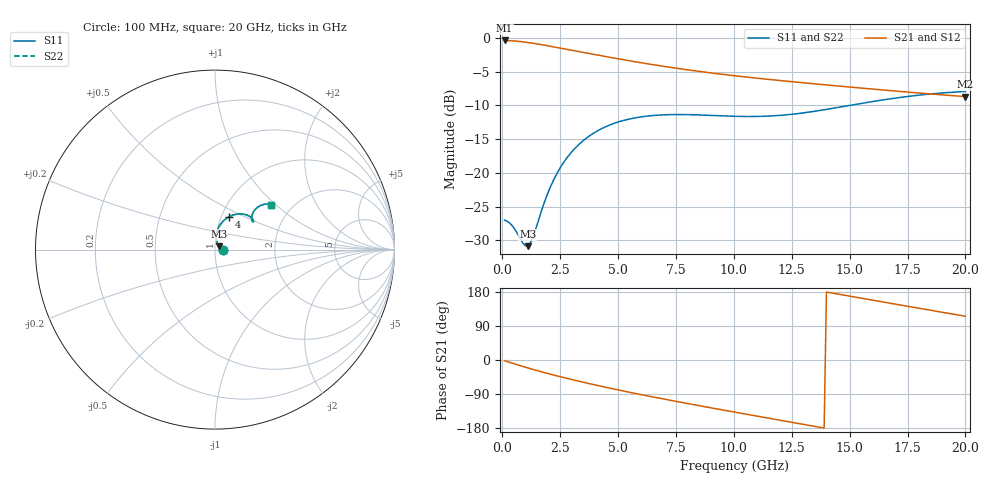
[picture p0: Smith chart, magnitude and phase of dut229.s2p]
! Created with skrf 1.9.0 (http://scikit-rf.org).
# GHz S RI R 50.0
!freq ReS11 ImS11 ReS21 ImS21 ReS12 ImS12 ReS22 ImS22
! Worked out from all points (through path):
!   200 points, 100 MHz to 20 GHz, reference 50 ohm
!   highest |S21| = -0.40 dB at 100 MHz (marker M1); lowest = -8.7 dB at 20 GHz (marker M2)
!   group delay of S21, straight-line fit = 32.4 ps
!   lowest |S11| = -30.8 dB at 1.1 GHz (marker M3), VSWR 1.06, Z = 52.2 + j1.97 ohm
!   |S11| at or under -10 dB: start of sweep to 15.03 GHz
!   |S22| runs from -30.8 to -8.0 dB; largest |S21 - S12| = 2.5e-15
!   S11 on the Smith chart (normalised r, x): 100 MHz: 1.09, -0.00; 4 GHz: 1.09, +0.42; 20 GHz: 1.57, +0.94
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0.1  0.0447 -7.88e-05  0.9542 -0.0323  0.9542 -0.0323  0.0447 -7.88e-05
0.4  0.0411 0.00176  0.9412 -0.1289  0.9412 -0.1289  0.0411 0.00176
0.9  0.0278 0.0114  0.8902 -0.2762  0.8902 -0.2762  0.0278 0.0114
1.1  0.0216 0.0189  0.8617 -0.3287  0.8617 -0.3287  0.0216 0.0189
1.2  0.0187 0.0234  0.8462 -0.3534  0.8462 -0.3534  0.0187 0.0234
1.3  0.0159 0.0284  0.8299 -0.3771  0.8299 -0.3771  0.0159 0.0284
1.9  0.0068 0.0659  0.7209 -0.4972  0.7209 -0.4972  0.0068 0.0659
2.3  0.00942 0.0942  0.6423 -0.5581  0.6423 -0.5581  0.00942 0.0942
2.8  0.0222 0.1278  0.542 -0.6153  0.542 -0.6153  0.0222 0.1278
3.5  0.0527 0.1653  0.4036 -0.6657  0.4036 -0.6657  0.0527 0.1653
4  0.079 0.1832  0.3087 -0.684  0.3087 -0.684  0.079 0.1832
4.6  0.111 0.1953  0.2013 -0.6899  0.2013 -0.6899  0.111 0.1953
5.2  0.1405 0.1987  0.1022 -0.6814  0.1022 -0.6814  0.1405 0.1987
6.8  0.195 0.1838  -0.1182 -0.6093  -0.1182 -0.6093  0.195 0.1838
8.4  0.214 0.1625  -0.2779 -0.4938  -0.2779 -0.4938  0.214 0.1625
10.1  0.2112 0.1552  -0.3893 -0.3475  -0.3893 -0.3475  0.2112 0.1552
11.7  0.2044 0.1676  -0.4448 -0.2005  -0.4448 -0.2005  0.2044 0.1676
13.4  0.2069 0.1947  -0.4549 -0.0461  -0.4549 -0.0461  0.2069 0.1947
15  0.2233 0.223  -0.4229 0.086  -0.4229 0.086  0.2233 0.223
16.7  0.2527 0.2451  -0.3534 0.2016  -0.3534 0.2016  0.2527 0.2451
18.4  0.2859 0.2538  -0.259 0.2848  -0.259 0.2848  0.2859 0.2538
20  0.312 0.2509  -0.1576 0.3313  -0.1576 0.3313  0.312 0.2509
